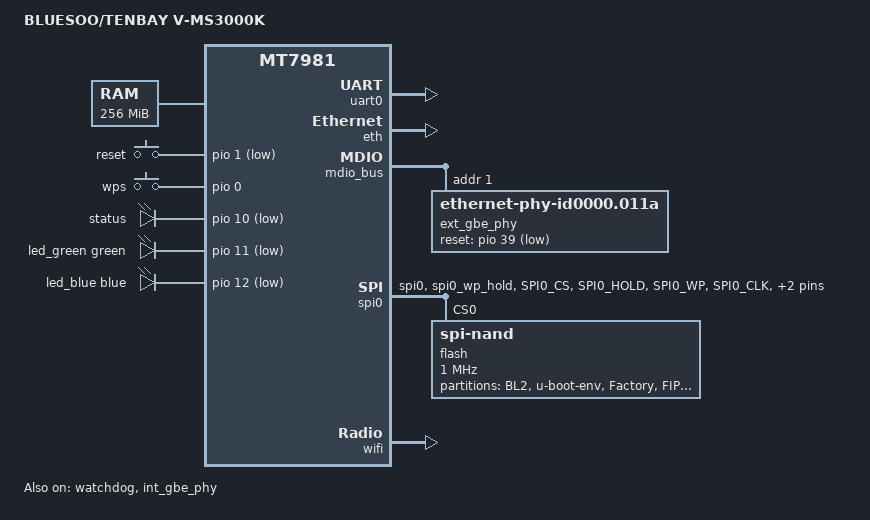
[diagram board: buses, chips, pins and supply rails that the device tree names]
// SPDX-License-Identifier: GPL-2.0-only OR MIT

/dts-v1/;
#include "mt7981b.dtsi"

/ {
	model = "BLUESOO/TENBAY V-MS3000K";
	compatible = "tenbay,v-ms3000k", "mediatek,mt7981";

	aliases {
		ethernet0 = &gmac0;
		ethernet1 = &gmac1;
		serial0 = &uart0;
		led-boot = &led_status;
		led-failsafe = &led_blue;
		led-running = &led_green;
		led-upgrade = &led_blue;
	};

	chosen {
		stdout-path = "serial0:115200n8";
		bootargs = "console=ttyS0,115200n8 earlycon=uart8250,mmio32,0x11002000";
	};

	memory@40000000 {
		device_type = "memory";
		reg = <0 0x40000000 0 0x10000000>;
	};

	keys {
		compatible = "gpio-keys";

		button-reset {
			label = "reset";
			linux,code = <KEY_RESTART>;
			gpios = <&pio 1 GPIO_ACTIVE_LOW>;
		};

		button-wps {
			label = "wps";
			linux,code = <KEY_WPS_BUTTON>;
			gpios = <&pio 0 GPIO_ACTIVE_HIGH>;
		};
	};

	leds {
		compatible = "gpio-leds";

		led_status: led-status {
			label = "status";
			gpios = <&pio 10 GPIO_ACTIVE_LOW>;
		};

		led_green: led-green {
			color = <LED_COLOR_ID_GREEN>;
			function = LED_FUNCTION_STATUS;
			gpios = <&pio 11 GPIO_ACTIVE_LOW>;
		};

		led_blue: led-blue {
			color = <LED_COLOR_ID_BLUE>;
			function = LED_FUNCTION_STATUS;
			gpios = <&pio 12 GPIO_ACTIVE_LOW>;
		};
	};
};

&uart0 {
	status = "okay";
};

&watchdog {
	status = "okay";
};

&eth {
	reg = <0 0x15100000 0 0x40000>;
	interrupt-names = "fe0", "fe1", "fe2", "fe3";
	sram = <&vms_eth_sram>;
	pinctrl-names = "default";
	pinctrl-0 = <&mdio_pins>;
	status = "okay";

	gmac0: mac@0 {
		compatible = "mediatek,eth-mac";
		reg = <0>;
		nvmem-cells = <&macaddr_factory_4 1>;
		nvmem-cell-names = "mac-address";
		phy-mode = "sgmii";
		phy-handle = <&ext_gbe_phy>;
		managed = "in-band-status";
	};

	gmac1: mac@1 {
		compatible = "mediatek,eth-mac";
		reg = <1>;
		nvmem-cells = <&macaddr_factory_4 0>;
		nvmem-cell-names = "mac-address";
		phy-mode = "gmii";
		phy-handle = <&int_gbe_phy>;
	};
};

&mdio_bus {
	ext_gbe_phy: ethernet-phy@1 {
		compatible = "ethernet-phy-id0000.011a", "ethernet-phy-ieee802.3-c22";
		reg = <1>;
		reset-gpios = <&pio 39 GPIO_ACTIVE_LOW>;
		reset-assert-us = <100000>;
		reset-deassert-us = <100000>;
	};
};

&int_gbe_phy {
	status = "okay";
};

&sgmiisys0 {
	/delete-property/ mediatek,pnswap;
};

&pio {
	spi0_flash_pins: spi0-pins {
		mux {
			function = "spi";
			groups = "spi0", "spi0_wp_hold";
		};

		conf-pu {
			pins = "SPI0_CS", "SPI0_HOLD", "SPI0_WP";
			drive-strength = <MTK_DRIVE_8mA>;
			bias-pull-up = <MTK_PUPD_SET_R1R0_11>;
		};

		conf-pd {
			pins = "SPI0_CLK", "SPI0_MOSI", "SPI0_MISO";
			drive-strength = <MTK_DRIVE_8mA>;
			bias-pull-down = <MTK_PUPD_SET_R1R0_11>;
		};
	};
};

&spi0 {
	pinctrl-names = "default";
	pinctrl-0 = <&spi0_flash_pins>;
	status = "okay";

	flash@0 {
		compatible = "spi-nand";
		tenbay,verified-onfi-probe;
		reg = <0>;
		spi-max-frequency = <1000000>;
		spi-tx-bus-width = <4>;
		spi-rx-bus-width = <4>;

		mediatek,nmbm;
		mediatek,bmt-max-ratio = <1>;
		mediatek,bmt-max-reserved-blocks = <64>;

		partitions {
			compatible = "fixed-partitions";
			#address-cells = <1>;
			#size-cells = <1>;

			partition@0 {
				label = "BL2";
				reg = <0 0x100000>;
				read-only;
			};
			partition@100000 {
				label = "u-boot-env";
				reg = <0x100000 0x80000>;
				read-only;
			};
			partition@180000 {
				label = "Factory";
				reg = <0x180000 0x200000>;
				read-only;

				nvmem-layout {
					compatible = "fixed-layout";
					#address-cells = <1>;
					#size-cells = <1>;

					eeprom_factory_0: eeprom@0 {
						reg = <0 0x1000>;
					};

					macaddr_factory_4: macaddr@4 {
						compatible = "mac-base";
						reg = <4 6>;
						#nvmem-cell-cells = <1>;
					};
				};
			};
			partition@380000 {
				label = "FIP";
				reg = <0x380000 0x200000>;
				read-only;
			};
			partition@580000 {
				label = "ubi";
				reg = <0x580000 0x3000000>;
				read-only;
			};
			partition@3580000 {
				label = "ubi1";
				reg = <0x3580000 0x3000000>;
			};
			partition@6580000 {
				label = "Product";
				reg = <0x6580000 0x20000>;
				read-only;
			};
			partition@65a0000 {
				label = "Custom";
				reg = <0x65a0000 0x1000000>;
				read-only;
			};
		};
	};
};

&wifi {
	nvmem-cells = <&eeprom_factory_0>;
	nvmem-cell-names = "eeprom";
	status = "okay";
};

&{/soc} {
	vms_eth_sram: sram@15140000 {
		compatible = "mmio-sram";
		reg = <0 0x15140000 0 0x40000>;
		#address-cells = <1>;
		#size-cells = <1>;
		ranges = <0 0 0x15140000 0x40000>;
	};
};
